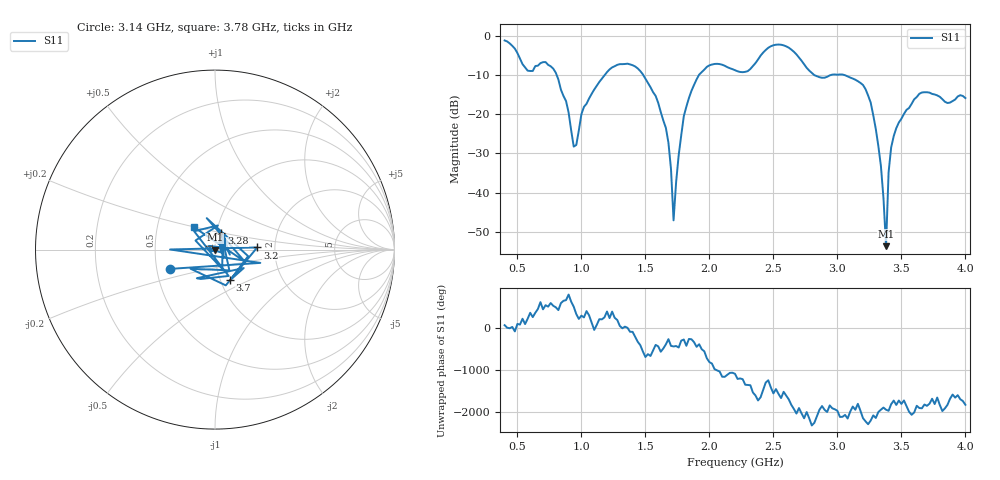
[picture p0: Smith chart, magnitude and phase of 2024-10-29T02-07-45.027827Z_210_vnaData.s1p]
!Created with skrf (http://scikit-rf.org).
# Hz S RI R 50.0
!freq ReS11 ImS11
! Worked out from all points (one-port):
!   181 points, 400 MHz to 4 GHz, reference 50 ohm
!   lowest |S11| = -53.7 dB at 3.38 GHz (marker M1), VSWR 1.00, Z = 49.8 - j0.0818 ohm
!   |S11| at or under -10 dB: 806.5 MHz to 1.184 GHz (377.1 MHz wide, 37.9 % of centre); 1.483 GHz to 1.919 GHz (435.8 MHz wide, 25.6 % of centre); 3.052 GHz to end of sweep (the widest 3 of 4)
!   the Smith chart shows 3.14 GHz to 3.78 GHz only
!   S11 on the Smith chart (normalised r, x): 3.14 GHz: 0.58, -0.14; 3.2 GHz: 1.61, +0.04; 3.28 GHz: 1.05, +0.19; 3.7 GHz: 1.11, -0.39; 3.78 GHz: 0.76, +0.20
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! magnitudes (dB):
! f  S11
! 400 MHz  -1.2
! 580 MHz  -8.9
! 780 MHz  -8.4
! 860 MHz  -15.4
! 940 MHz  -28.3
! 1.02 GHz  -18.1
! 1.3 GHz  -7.2
! 1.6 GHz  -17.1
! 1.68 GHz  -27.3
! 1.72 GHz  -47.1
! 1.76 GHz  -30.5
! 1.8 GHz  -20.5
! 1.92 GHz  -9.9
! 2.2 GHz  -8.8
! 2.66 GHz  -4.1
! 2.82 GHz  -10.1
! 3.1 GHz  -10.7
! 3.14 GHz  -11.2
! 3.2 GHz  -12.6
! 3.28 GHz  -20.3
! 3.34 GHz  -33.2
! 3.38 GHz  -53.7
! 3.4 GHz  -34.8
! 3.42 GHz  -28.5
! 3.56 GHz  -18.4
! 3.7 GHz  -14.4
! 3.78 GHz  -15.2
! 4 GHz  -15.9
